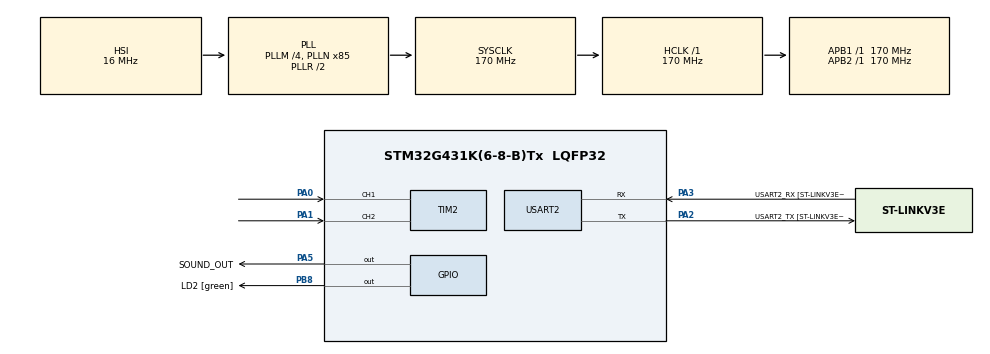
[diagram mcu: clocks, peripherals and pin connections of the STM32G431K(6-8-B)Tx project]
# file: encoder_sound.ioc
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FREERTOS.Tasks01=defaultTask,24,128,StartDefaultTask,Default,NULL,Dynamic,NULL,NULL;myTask02,8,128,StartTask02,Default,NULL,Dynamic,NULL,NULL;myTask03,8,128,StartTask03,Default,NULL,Dynamic,NULL,NULL;myTask04,8,128,StartTask04,Default,NULL,Dynamic,NULL,NULL
Mcu.Family=STM32G4
Mcu.Name=STM32G431K(6-8-B)Tx
Mcu.Package=LQFP32
NVIC.PriorityGroup=NVIC_PRIORITYGROUP_4
NVIC.TIM1_UP_TIM16_IRQn=true\:0\:0\:false\:false\:true\:false\:false\:true
NVIC.TimeBase=TIM1_UP_TIM16_IRQn
NVIC.TimeBaseIP=TIM1
PA0.Signal=S_TIM2_CH1
PA1.Signal=S_TIM2_CH2
PA13.GPIO_Label=T_SWDIO
PA13.Mode=Serial_Wire
PA13.Signal=SYS_JTMS-SWDIO
PA14.GPIO_Label=T_SWCLK
PA14.Mode=Serial_Wire
PA14.Signal=SYS_JTCK-SWCLK
PA2.GPIO_Label=USART2_TX [ST-LINKV3E_VCP_RX]
PA2.Mode=Asynchronous
PA2.Signal=USART2_TX
PA3.GPIO_Label=USART2_RX [ST-LINKV3E_VCP_TX]
PA3.Mode=Asynchronous
PA3.Signal=USART2_RX
PA5.GPIO_Label=SOUND_OUT
PA5.Signal=GPIO_Output
PB3.GPIO_Label=T_SWO
PB3.Signal=SYS_JTDO-SWO
PB8-BOOT0.GPIO_Label=LD2 [green]
PB8-BOOT0.Signal=GPIO_Output
ProjectManager.HeapSize=0x200
ProjectManager.StackSize=0x400
ProjectManager.TargetToolchain=Makefile
RCC.ADC12Freq_Value=170000000
RCC.AHBFreq_Value=170000000
RCC.APB1Freq_Value=170000000
RCC.APB1TimFreq_Value=170000000
RCC.APB2Freq_Value=170000000
RCC.APB2TimFreq_Value=170000000
RCC.CortexFreq_Value=170000000
RCC.EXTERNAL_CLOCK_VALUE=12288000
RCC.HCLKFreq_Value=170000000
RCC.HSE_VALUE=8000000
RCC.HSI48_VALUE=48000000
RCC.HSI_VALUE=16000000
RCC.LSE_VALUE=32768
RCC.PLLM=RCC_PLLM_DIV4
RCC.PLLN=85
RCC.SYSCLKFreq_VALUE=170000000
RCC.SYSCLKSource=RCC_SYSCLKSOURCE_PLLCLK
RCC.USBFreq_Value=170000000
RCC.VCOOutputFreq_Value=340000000
SH.S_TIM2_CH1.0=TIM2_CH1,Encoder_Interface
SH.S_TIM2_CH2.0=TIM2_CH2,Encoder_Interface
USART2.VirtualMode-Asynchronous=VM_ASYNC
USART2.WordLength=WORDLENGTH_8B
VP_FREERTOS_VS_CMSIS_V2.Mode=CMSIS_V2
VP_SYS_VS_DBSignals.Mode=DisableDeadBatterySignals
VP_SYS_VS_tim1.Mode=TIM1
board=NUCLEO-G431KB

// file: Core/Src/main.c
/* USER CODE BEGIN Header */
/**
  ******************************************************************************
  * @file           : main.c
  * @brief          : Main program body
  ******************************************************************************
  * @attention
  *
  * <h2><center>&copy; Copyright (c) 2021 STMicroelectronics.
  * All rights reserved.</center></h2>
  *
  * This software component is licensed by ST under BSD 3-Clause license,
  * the "License"; You may not use this file except in compliance with the
  * License. You may obtain a copy of the License at:
  *                        opensource.org/licenses/BSD-3-Clause
  *
  ******************************************************************************
  */
/* USER CODE END Header */
#include "main.h"
#include "cmsis_os.h"
#include "tim.h"
#include "usart.h"
#include "gpio.h"

void SystemClock_Config(void);
void MX_FREERTOS_Init(void);

int main(void)
{

  /* MCU Configuration--------------------------------------------------------*/

  /* Reset of all peripherals, Initializes the Flash interface and the Systick. */
  HAL_Init();

  /* Configure the system clock */
  SystemClock_Config();

  /* Initialize all configured peripherals */
  MX_GPIO_Init();
  MX_TIM2_Init();
  MX_USART2_UART_Init();

  /* Init scheduler */
  osKernelInitialize();  /* Call init function for freertos objects (in freertos.c) */
  MX_FREERTOS_Init();
  /* Start scheduler */
  osKernelStart();

  /* We should never get here as control is now taken by the scheduler */
  /* Infinite loop */
  while (1)
  {

  }
}

void SystemClock_Config(void)
{
  RCC_OscInitTypeDef RCC_OscInitStruct = {0};
  RCC_ClkInitTypeDef RCC_ClkInitStruct = {0};
  RCC_PeriphCLKInitTypeDef PeriphClkInit = {0};

  /** Configure the main internal regulator output voltage
  */
  HAL_PWREx_ControlVoltageScaling(PWR_REGULATOR_VOLTAGE_SCALE1_BOOST);
  /** Initializes the RCC Oscillators according to the specified parameters
  * in the RCC_OscInitTypeDef structure.
  */
  RCC_OscInitStruct.OscillatorType = RCC_OSCILLATORTYPE_HSI;
  RCC_OscInitStruct.HSIState = RCC_HSI_ON;
  RCC_OscInitStruct.HSICalibrationValue = RCC_HSICALIBRATION_DEFAULT;
  RCC_OscInitStruct.PLL.PLLState = RCC_PLL_ON;
  RCC_OscInitStruct.PLL.PLLSource = RCC_PLLSOURCE_HSI;
  RCC_OscInitStruct.PLL.PLLM = RCC_PLLM_DIV4;
  RCC_OscInitStruct.PLL.PLLN = 85;
  RCC_OscInitStruct.PLL.PLLP = RCC_PLLP_DIV2;
  RCC_OscInitStruct.PLL.PLLQ = RCC_PLLQ_DIV2;
  RCC_OscInitStruct.PLL.PLLR = RCC_PLLR_DIV2;
  if (HAL_RCC_OscConfig(&RCC_OscInitStruct) != HAL_OK)
  {
    Error_Handler();
  }
  /** Initializes the CPU, AHB and APB buses clocks
  */
  RCC_ClkInitStruct.ClockType = RCC_CLOCKTYPE_HCLK|RCC_CLOCKTYPE_SYSCLK
                              |RCC_CLOCKTYPE_PCLK1|RCC_CLOCKTYPE_PCLK2;
  RCC_ClkInitStruct.SYSCLKSource = RCC_SYSCLKSOURCE_PLLCLK;
  RCC_ClkInitStruct.AHBCLKDivider = RCC_SYSCLK_DIV1;
  RCC_ClkInitStruct.APB1CLKDivider = RCC_HCLK_DIV1;
  RCC_ClkInitStruct.APB2CLKDivider = RCC_HCLK_DIV1;

  if (HAL_RCC_ClockConfig(&RCC_ClkInitStruct, FLASH_LATENCY_4) != HAL_OK)
  {
    Error_Handler();
  }
  /** Initializes the peripherals clocks
  */
  PeriphClkInit.PeriphClockSelection = RCC_PERIPHCLK_USART2;
  PeriphClkInit.Usart2ClockSelection = RCC_USART2CLKSOURCE_PCLK1;
  if (HAL_RCCEx_PeriphCLKConfig(&PeriphClkInit) != HAL_OK)
  {
    Error_Handler();
  }
}

 /**
  * @brief  Period elapsed callback in non blocking mode
  * @note   This function is called  when TIM1 interrupt took place, inside
  * HAL_TIM_IRQHandler(). It makes a direct call to HAL_IncTick() to increment
  * a global variable "uwTick" used as application time base.
  * @param  htim : TIM handle
  * @retval None
  */
void HAL_TIM_PeriodElapsedCallback(TIM_HandleTypeDef *htim)
{
  if (htim->Instance == TIM1) {
    HAL_IncTick();
  }
}

void Error_Handler(void)
{
  __disable_irq();
  while (1)
  {
  }
}

/************************ (C) COPYRIGHT STMicroelectronics *****END OF FILE****/

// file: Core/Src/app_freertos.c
/* USER CODE BEGIN Header */
/**
  ******************************************************************************
  * File Name          : app_freertos.c
  * Description        : Code for freertos applications
  ******************************************************************************
  * @attention
  *
  * <h2><center>&copy; Copyright (c) 2021 STMicroelectronics.
  * All rights reserved.</center></h2>
  *
  * This software component is licensed by ST under Ultimate Liberty license
  * SLA0044, the "License"; You may not use this file except in compliance with
  * the License. You may obtain a copy of the License at:
  *                             www.st.com/SLA0044
  *
  ******************************************************************************
  */
/* USER CODE END Header */

#include "FreeRTOS.h"
#include "task.h"
#include "main.h"
#include "cmsis_os.h"

/* USER CODE BEGIN Includes */
#include <stdint.h>
#include <stdio.h>
#include <string.h>
#include "tim.h"
#include "usart.h"
/* USER CODE END Includes */

/* USER CODE BEGIN PTD */

#define ARR_SIZE(arr)   (sizeof(arr)/sizeof(arr[0]))

/* USER CODE END PTD */

/* Definitions for defaultTask */
osThreadId_t defaultTaskHandle;
const osThreadAttr_t defaultTask_attributes = {
    .name = "defaultTask",
    .priority = (osPriority_t) osPriorityNormal,
    .stack_size = 128 * 4
};
/* Definitions for myTask02 */
osThreadId_t myTask02Handle;
const osThreadAttr_t myTask02_attributes = {
    .name = "myTask02",
    .priority = (osPriority_t) osPriorityLow,
    .stack_size = 128 * 4
};
/* Definitions for myTask03 */
osThreadId_t myTask03Handle;
const osThreadAttr_t myTask03_attributes = {
    .name = "myTask03",
    .priority = (osPriority_t) osPriorityLow,
    .stack_size = 128 * 4
};
/* Definitions for myTask04 */
osThreadId_t myTask04Handle;
const osThreadAttr_t myTask04_attributes = {
    .name = "myTask04",
    .priority = (osPriority_t) osPriorityLow,
    .stack_size = 128 * 4
};

void StartDefaultTask(void *argument);
void StartTask02(void *argument);
void StartTask03(void *argument);
void StartTask04(void *argument);

void MX_FREERTOS_Init(void); /* (MISRA C 2004 rule 8.1) */

void MX_FREERTOS_Init(void) {

    /* Create the thread(s) */
    /* creation of defaultTask */
    defaultTaskHandle = osThreadNew(StartDefaultTask, NULL, &defaultTask_attributes);

    /* creation of myTask02 */
    myTask02Handle = osThreadNew(StartTask02, NULL, &myTask02_attributes);

    /* creation of myTask03 */
    myTask03Handle = osThreadNew(StartTask03, NULL, &myTask03_attributes);

    /* creation of myTask04 */
    myTask04Handle = osThreadNew(StartTask04, NULL, &myTask04_attributes);

}

void StartDefaultTask(void *argument) {
    /* USER CODE BEGIN StartDefaultTask */
    /* Infinite loop */
    for(;;) {
        osDelay(10);
    }
    /* USER CODE END StartDefaultTask */
}

void StartTask02(void *argument) {
    /* USER CODE BEGIN StartTask02 */
    /* Infinite loop */

    char msg[100] = {0};
    int32_t cnt = 0;

    for(;;) {

        /* cnt =(TIM2->CNT) >> 2; */
        cnt = (TIM2->CNT) >> 1;
        /* cnt =(TIM2->CNT); */
        snprintf(&msg[0], ARR_SIZE(msg), "Encoder Switch Released, Encoder Ticks = %ld\n\r", cnt);
        HAL_UART_Transmit(&huart2, (uint8_t *)&msg[0], strlen(msg), 100);
        osDelay(1000);

    }
    /* USER CODE END StartTask02 */
}

void StartTask03(void *argument) {
    /* USER CODE BEGIN StartTask03 */
    /* Infinite loop */

    HAL_TIM_Encoder_Start(&htim2, TIM_CHANNEL_ALL);
    for(;;) {

        HAL_GPIO_TogglePin(LD2_GPIO_Port, LD2_Pin);
        osDelay(250);

    }
    /* USER CODE END StartTask03 */
}

void StartTask04(void *argument) {
    /* USER CODE BEGIN StartTask04 */
    /* Infinite loop */

    int32_t cnt = 0;

    for(;;) {
        /* cnt =(TIM2->CNT) >> 2; */
        cnt = (TIM2->CNT) >> 1;
        /* cnt =(TIM2->CNT); */

        switch(cnt) {
            case 10:
                for(uint16_t i = 1000; i < 1500; i++) {
                    for(uint16_t j = 1000; j < 1500 + i; j++) {
                        asm("nop");
                    }
                    HAL_GPIO_TogglePin(SOUND_OUT_GPIO_Port, SOUND_OUT_Pin);
                }
                break;

            case 11:
            case 12:
            case 13:
            case 14:
            case 15:
            case 16:
            case 17:
            case 18:
            case 19:
            case 20:
                for(uint16_t i = 1000; i < 1000+cnt*100; i++) {
                    for(uint16_t j = 1000; j < 1000+cnt*50 + i; j++) {
                        asm("nop");
                    }
                    HAL_GPIO_TogglePin(SOUND_OUT_GPIO_Port, SOUND_OUT_Pin);
                }
                break;

            default:
                HAL_GPIO_TogglePin(SOUND_OUT_GPIO_Port, SOUND_OUT_Pin);
                if(cnt < 1000) {
                    osDelay(cnt);
                } else {
                    osDelay(1);
                }
                break;
        }

    }
    /* USER CODE END StartTask04 */
}

/************************ (C) COPYRIGHT STMicroelectronics *****END OF FILE****/
